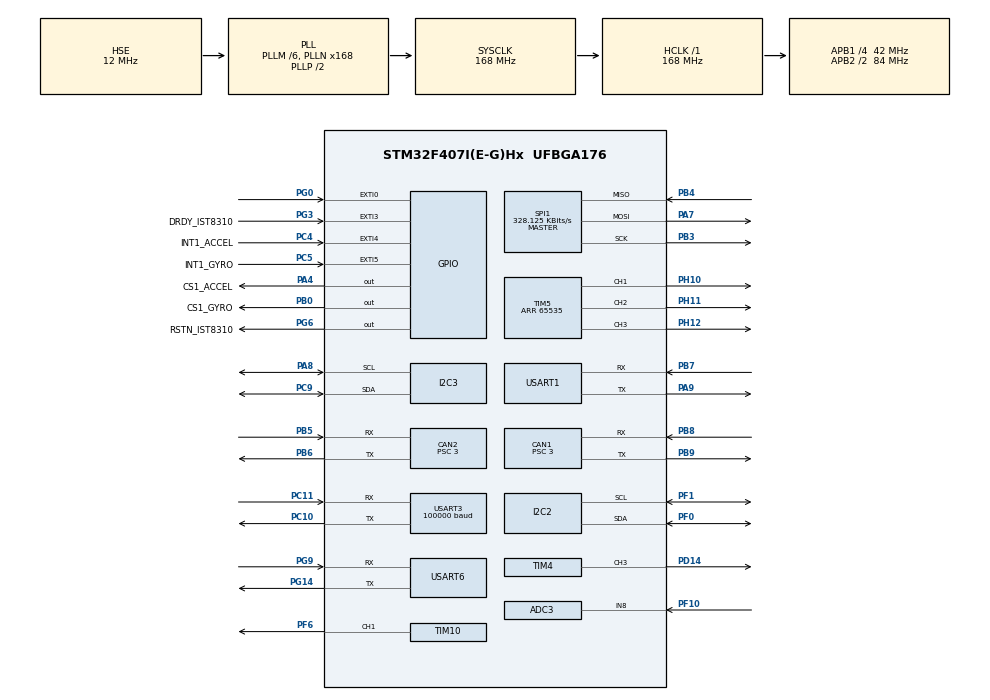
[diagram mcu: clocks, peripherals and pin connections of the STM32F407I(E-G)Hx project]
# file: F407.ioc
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ADC1.Channel-0\#ChannelRegularConversion=ADC_CHANNEL_TEMPSENSOR
ADC1.NbrOfConversionFlag=1
ADC1.Rank-0\#ChannelRegularConversion=1
ADC1.SamplingTime-0\#ChannelRegularConversion=ADC_SAMPLETIME_3CYCLES
ADC1.master=1
ADC3.Channel-0\#ChannelRegularConversion=ADC_CHANNEL_8
ADC3.NbrOfConversionFlag=1
ADC3.Rank-0\#ChannelRegularConversion=1
ADC3.SamplingTime-0\#ChannelRegularConversion=ADC_SAMPLETIME_3CYCLES
CAN1.BS1=CAN_BS1_12TQ
CAN1.CalculateBaudRate=1000000
CAN1.CalculateTimeBit=999.99
CAN1.CalculateTimeQuantum=71.42857142857143
CAN1.Prescaler=3
CAN2.BS1=CAN_BS1_12TQ
CAN2.CalculateBaudRate=1000000
CAN2.CalculateTimeBit=999.99
CAN2.CalculateTimeQuantum=71.42857142857143
CAN2.Prescaler=3
Dma.I2C2_RX.0.Direction=DMA_PERIPH_TO_MEMORY
Dma.I2C2_RX.0.FIFOMode=DMA_FIFOMODE_DISABLE
Dma.I2C2_RX.0.Instance=DMA1_Stream2
Dma.I2C2_RX.0.MemDataAlignment=DMA_MDATAALIGN_BYTE
Dma.I2C2_RX.0.MemInc=DMA_MINC_ENABLE
Dma.I2C2_RX.0.Mode=DMA_NORMAL
Dma.I2C2_RX.0.PeriphDataAlignment=DMA_PDATAALIGN_BYTE
Dma.I2C2_RX.0.PeriphInc=DMA_PINC_DISABLE
Dma.I2C2_RX.0.Priority=DMA_PRIORITY_VERY_HIGH
Dma.I2C2_TX.1.Direction=DMA_MEMORY_TO_PERIPH
Dma.I2C2_TX.1.FIFOMode=DMA_FIFOMODE_DISABLE
Dma.I2C2_TX.1.Instance=DMA1_Stream7
Dma.I2C2_TX.1.MemDataAlignment=DMA_MDATAALIGN_BYTE
Dma.I2C2_TX.1.MemInc=DMA_MINC_ENABLE
Dma.I2C2_TX.1.Mode=DMA_NORMAL
Dma.I2C2_TX.1.PeriphDataAlignment=DMA_PDATAALIGN_BYTE
Dma.I2C2_TX.1.PeriphInc=DMA_PINC_DISABLE
Dma.I2C2_TX.1.Priority=DMA_PRIORITY_VERY_HIGH
Dma.Request0=I2C2_RX
Dma.Request1=I2C2_TX
Dma.Request2=SPI1_RX
Dma.Request3=SPI1_TX
Dma.Request4=USART1_RX
Dma.Request5=USART1_TX
Dma.Request6=USART3_RX
Dma.Request7=USART6_RX
Dma.Request8=USART6_TX
Dma.SPI1_RX.2.Direction=DMA_PERIPH_TO_MEMORY
Dma.SPI1_RX.2.FIFOMode=DMA_FIFOMODE_DISABLE
Dma.SPI1_RX.2.Instance=DMA2_Stream0
Dma.SPI1_RX.2.MemDataAlignment=DMA_MDATAALIGN_BYTE
Dma.SPI1_RX.2.MemInc=DMA_MINC_ENABLE
Dma.SPI1_RX.2.Mode=DMA_NORMAL
Dma.SPI1_RX.2.PeriphDataAlignment=DMA_PDATAALIGN_BYTE
Dma.SPI1_RX.2.PeriphInc=DMA_PINC_DISABLE
Dma.SPI1_RX.2.Priority=DMA_PRIORITY_VERY_HIGH
Dma.SPI1_TX.3.Direction=DMA_MEMORY_TO_PERIPH
Dma.SPI1_TX.3.FIFOMode=DMA_FIFOMODE_DISABLE
Dma.SPI1_TX.3.Instance=DMA2_Stream3
Dma.SPI1_TX.3.MemDataAlignment=DMA_MDATAALIGN_BYTE
Dma.SPI1_TX.3.MemInc=DMA_MINC_ENABLE
Dma.SPI1_TX.3.Mode=DMA_NORMAL
Dma.SPI1_TX.3.PeriphDataAlignment=DMA_PDATAALIGN_BYTE
Dma.SPI1_TX.3.PeriphInc=DMA_PINC_DISABLE
Dma.SPI1_TX.3.Priority=DMA_PRIORITY_VERY_HIGH
Dma.USART1_RX.4.Direction=DMA_PERIPH_TO_MEMORY
Dma.USART1_RX.4.FIFOMode=DMA_FIFOMODE_DISABLE
Dma.USART1_RX.4.Instance=DMA2_Stream2
Dma.USART1_RX.4.MemDataAlignment=DMA_MDATAALIGN_BYTE
Dma.USART1_RX.4.MemInc=DMA_MINC_ENABLE
Dma.USART1_RX.4.Mode=DMA_NORMAL
Dma.USART1_RX.4.PeriphDataAlignment=DMA_PDATAALIGN_BYTE
Dma.USART1_RX.4.PeriphInc=DMA_PINC_DISABLE
Dma.USART1_RX.4.Priority=DMA_PRIORITY_LOW
Dma.USART1_TX.5.Direction=DMA_MEMORY_TO_PERIPH
Dma.USART1_TX.5.FIFOMode=DMA_FIFOMODE_DISABLE
Dma.USART1_TX.5.Instance=DMA2_Stream7
Dma.USART1_TX.5.MemDataAlignment=DMA_MDATAALIGN_BYTE
Dma.USART1_TX.5.MemInc=DMA_MINC_ENABLE
Dma.USART1_TX.5.Mode=DMA_NORMAL
Dma.USART1_TX.5.PeriphDataAlignment=DMA_PDATAALIGN_BYTE
Dma.USART1_TX.5.PeriphInc=DMA_PINC_DISABLE
Dma.USART1_TX.5.Priority=DMA_PRIORITY_LOW
Dma.USART3_RX.6.Direction=DMA_PERIPH_TO_MEMORY
Dma.USART3_RX.6.FIFOMode=DMA_FIFOMODE_DISABLE
Dma.USART3_RX.6.Instance=DMA1_Stream1
Dma.USART3_RX.6.MemDataAlignment=DMA_MDATAALIGN_BYTE
Dma.USART3_RX.6.MemInc=DMA_MINC_ENABLE
Dma.USART3_RX.6.Mode=DMA_NORMAL
Dma.USART3_RX.6.PeriphDataAlignment=DMA_PDATAALIGN_BYTE
Dma.USART3_RX.6.PeriphInc=DMA_PINC_DISABLE
Dma.USART3_RX.6.Priority=DMA_PRIORITY_HIGH
Dma.USART6_RX.7.Direction=DMA_PERIPH_TO_MEMORY
Dma.USART6_RX.7.FIFOMode=DMA_FIFOMODE_DISABLE
Dma.USART6_RX.7.Instance=DMA2_Stream1
Dma.USART6_RX.7.MemDataAlignment=DMA_MDATAALIGN_BYTE
Dma.USART6_RX.7.MemInc=DMA_MINC_ENABLE
Dma.USART6_RX.7.Mode=DMA_NORMAL
Dma.USART6_RX.7.PeriphDataAlignment=DMA_PDATAALIGN_BYTE
Dma.USART6_RX.7.PeriphInc=DMA_PINC_DISABLE
Dma.USART6_RX.7.Priority=DMA_PRIORITY_LOW
Dma.USART6_TX.8.Direction=DMA_MEMORY_TO_PERIPH
Dma.USART6_TX.8.FIFOMode=DMA_FIFOMODE_DISABLE
Dma.USART6_TX.8.Instance=DMA2_Stream6
Dma.USART6_TX.8.MemDataAlignment=DMA_MDATAALIGN_BYTE
Dma.USART6_TX.8.MemInc=DMA_MINC_ENABLE
Dma.USART6_TX.8.Mode=DMA_NORMAL
Dma.USART6_TX.8.PeriphDataAlignment=DMA_PDATAALIGN_BYTE
Dma.USART6_TX.8.PeriphInc=DMA_PINC_DISABLE
Dma.USART6_TX.8.Priority=DMA_PRIORITY_LOW
FREERTOS.INCLUDE_eTaskGetState=1
FREERTOS.INCLUDE_pcTaskGetTaskName=1
FREERTOS.INCLUDE_uxTaskGetStackHighWaterMark=1
FREERTOS.INCLUDE_uxTaskGetStackHighWaterMark2=0
FREERTOS.INCLUDE_vTaskCleanUpResources=1
FREERTOS.INCLUDE_vTaskDelayUntil=1
FREERTOS.INCLUDE_xEventGroupSetBitFromISR=1
FREERTOS.INCLUDE_xQueueGetMutexHolder=1
FREERTOS.INCLUDE_xSemaphoreGetMutexHolder=1
FREERTOS.INCLUDE_xTaskAbortDelay=1
FREERTOS.INCLUDE_xTaskGetCurrentTaskHandle=1
FREERTOS.INCLUDE_xTaskGetHandle=1
FREERTOS.INCLUDE_xTimerPendFunctionCall=1
FREERTOS.Tasks01=defaultTask,0,128,StartDefaultTask,Default,NULL,Dynamic,NULL,NULL
FREERTOS.configENABLE_FPU=1
FREERTOS.configTOTAL_HEAP_SIZE=24576
FREERTOS.configUSE_TIMERS=1
I2C2.I2C_Mode=I2C_Standard
I2C2.NoStretchMode=I2C_NOSTRETCH_ENABLE
I2C2.OwnAddress=0x30
Mcu.Family=STM32F4
Mcu.Name=STM32F407I(E-G)Hx
Mcu.Package=UFBGA176
NVIC.CAN1_RX0_IRQn=true\:8\:0\:true\:false\:true\:true\:true\:true
NVIC.CAN2_RX0_IRQn=true\:8\:0\:true\:false\:true\:true\:true\:true
NVIC.DMA1_Stream1_IRQn=true\:5\:0\:true\:false\:true\:true\:false\:true
NVIC.DMA1_Stream2_IRQn=true\:4\:0\:true\:false\:true\:false\:false\:true
NVIC.DMA1_Stream7_IRQn=true\:4\:0\:true\:false\:true\:false\:false\:true
NVIC.DMA2_Stream0_IRQn=true\:6\:0\:true\:false\:true\:true\:false\:true
NVIC.DMA2_Stream1_IRQn=true\:9\:0\:true\:false\:true\:true\:false\:true
NVIC.DMA2_Stream2_IRQn=true\:9\:0\:true\:false\:true\:true\:false\:true
NVIC.DMA2_Stream3_IRQn=true\:6\:0\:true\:false\:true\:true\:false\:true
NVIC.DMA2_Stream6_IRQn=true\:9\:0\:true\:false\:true\:true\:false\:true
NVIC.DMA2_Stream7_IRQn=true\:9\:0\:true\:false\:true\:true\:false\:true
NVIC.EXTI0_IRQn=true\:6\:0\:true\:false\:true\:true\:true\:true
NVIC.EXTI3_IRQn=true\:6\:0\:true\:false\:true\:true\:true\:true
NVIC.EXTI4_IRQn=true\:6\:0\:true\:false\:true\:true\:true\:true
NVIC.EXTI9_5_IRQn=true\:5\:0\:false\:false\:true\:true\:true\:true
NVIC.I2C2_ER_IRQn=true\:5\:0\:false\:false\:true\:true\:true\:true
NVIC.I2C2_EV_IRQn=true\:4\:0\:true\:false\:true\:false\:true\:true
NVIC.PriorityGroup=NVIC_PRIORITYGROUP_4
NVIC.TIM1_UP_TIM10_IRQn=true\:15\:0\:true\:false\:true\:false\:false\:true
NVIC.TimeBase=TIM1_UP_TIM10_IRQn
NVIC.TimeBaseIP=TIM1
NVIC.USART1_IRQn=true\:9\:0\:true\:false\:true\:true\:true\:true
NVIC.USART3_IRQn=true\:5\:0\:true\:false\:true\:true\:true\:true
NVIC.USART6_IRQn=true\:9\:0\:true\:false\:true\:true\:true\:true
PA13.Mode=Serial_Wire
PA13.Signal=SYS_JTMS-SWDIO
PA14.Mode=Serial_Wire
PA14.Signal=SYS_JTCK-SWCLK
PA4.GPIO_Label=CS1_ACCEL
PA4.GPIO_PuPd=GPIO_PULLUP
PA4.GPIO_Speed=GPIO_SPEED_FREQ_HIGH
PA4.PinState=GPIO_PIN_SET
PA4.Signal=GPIO_Output
PA7.GPIO_PuPd=GPIO_PULLUP
PA7.Mode=Full_Duplex_Master
PA7.Signal=SPI1_MOSI
PA8.GPIO_Pu=GPIO_PULLUP
PA8.Mode=I2C
PA8.Signal=I2C3_SCL
PA9.Mode=Asynchronous
PA9.Signal=USART1_TX
PB0.GPIO_Label=CS1_GYRO
PB0.GPIO_PuPd=GPIO_PULLUP
PB0.GPIO_Speed=GPIO_SPEED_FREQ_HIGH
PB0.PinState=GPIO_PIN_SET
PB0.Signal=GPIO_Output
PB3.GPIO_PuPd=GPIO_PULLUP
PB3.Mode=Full_Duplex_Master
PB3.Signal=SPI1_SCK
PB4.GPIO_PuPd=GPIO_PULLUP
PB4.Mode=Full_Duplex_Master
PB4.Signal=SPI1_MISO
PB5.Mode=CAN_Activate
PB5.Signal=CAN2_RX
PB6.Mode=CAN_Activate
PB6.Signal=CAN2_TX
PB7.Mode=Asynchronous
PB7.Signal=USART1_RX
PB8.Mode=CAN_Activate
PB8.Signal=CAN1_RX
PB9.Mode=CAN_Activate
PB9.Signal=CAN1_TX
PC10.Mode=Asynchronous
PC10.Signal=USART3_TX
PC11.Mode=Asynchronous
PC11.Signal=USART3_RX
PC4.GPIO_Label=INT1_ACCEL
PC4.GPIO_ModeDefaultEXTI=GPIO_MODE_IT_FALLING
PC4.GPIO_PuPd=GPIO_PULLUP
PC4.Signal=GPXTI4
PC5.GPIO_Label=INT1_GYRO
PC5.GPIO_ModeDefaultEXTI=GPIO_MODE_IT_FALLING
PC5.GPIO_PuPd=GPIO_PULLUP
PC5.Signal=GPXTI5
PC9.GPIO_Pu=GPIO_PULLUP
PC9.Mode=I2C
PC9.Signal=I2C3_SDA
PD14.GPIO_PuPd=GPIO_PULLUP
PD14.GPIO_Speed=GPIO_SPEED_FREQ_HIGH
PD14.Signal=S_TIM4_CH3
PF0.GPIO_Pu=GPIO_PULLUP
PF0.Mode=I2C
PF0.Signal=I2C2_SDA
PF1.GPIO_Pu=GPIO_PULLUP
PF1.Mode=I2C
PF1.Signal=I2C2_SCL
PF10.Mode=IN8
PF10.Signal=ADC3_IN8
PF6.GPIO_PuPd=GPIO_PULLUP
PF6.GPIO_Speed=GPIO_SPEED_FREQ_HIGH
PF6.Signal=S_TIM10_CH1
PG0.GPIO_ModeDefaultEXTI=GPIO_MODE_IT_FALLING
PG0.GPIO_PuPd=GPIO_PULLUP
PG0.Signal=GPXTI0
PG14.Mode=Asynchronous
PG14.Signal=USART6_TX
PG3.GPIO_Label=DRDY_IST8310
PG3.GPIO_ModeDefaultEXTI=GPIO_MODE_IT_FALLING
PG3.GPIO_PuPd=GPIO_PULLUP
PG3.Signal=GPXTI3
PG6.GPIO_Label=RSTN_IST8310
PG6.GPIO_PuPd=GPIO_PULLUP
PG6.GPIO_Speed=GPIO_SPEED_FREQ_MEDIUM
PG6.PinState=GPIO_PIN_SET
PG6.Signal=GPIO_Output
PG9.Mode=Asynchronous
PG9.Signal=USART6_RX
PH0-OSC_IN.Mode=HSE-External-Oscillator
PH0-OSC_IN.Signal=RCC_OSC_IN
PH1-OSC_OUT.Mode=HSE-External-Oscillator
PH1-OSC_OUT.Signal=RCC_OSC_OUT
PH10.GPIO_PuPd=GPIO_PULLUP
PH10.GPIO_Speed=GPIO_SPEED_FREQ_HIGH
PH10.Signal=S_TIM5_CH1
PH11.GPIO_PuPd=GPIO_PULLUP
PH11.GPIO_Speed=GPIO_SPEED_FREQ_HIGH
PH11.Signal=S_TIM5_CH2
PH12.GPIO_PuPd=GPIO_PULLUP
PH12.GPIO_Speed=GPIO_SPEED_FREQ_HIGH
PH12.Signal=S_TIM5_CH3
ProjectManager.HeapSize=0x200
ProjectManager.StackSize=0x400
ProjectManager.TargetToolchain=MDK-ARM V5.32
RCC.48MHZClocksFreq_Value=84000000
RCC.AHBFreq_Value=168000000
RCC.APB1CLKDivider=RCC_HCLK_DIV4
RCC.APB1Freq_Value=42000000
RCC.APB1TimFreq_Value=84000000
RCC.APB2CLKDivider=RCC_HCLK_DIV2
RCC.APB2Freq_Value=84000000
RCC.APB2TimFreq_Value=168000000
RCC.CortexFreq_Value=168000000
RCC.HCLKFreq_Value=168000000
RCC.HSE_VALUE=12000000
RCC.HSI_VALUE=16000000
RCC.LSE_VALUE=32768
RCC.PLLM=6
RCC.PLLN=168
RCC.PLLSourceVirtual=RCC_PLLSOURCE_HSE
RCC.SYSCLKFreq_VALUE=168000000
RCC.SYSCLKSource=RCC_SYSCLKSOURCE_PLLCLK
RCC.VCOOutputFreq_Value=336000000
SH.S_TIM10_CH1.0=TIM10_CH1,PWM Generation1 CH1
SH.S_TIM4_CH3.0=TIM4_CH3,PWM Generation3 CH3
SH.S_TIM5_CH1.0=TIM5_CH1,PWM Generation1 CH1
SH.S_TIM5_CH2.0=TIM5_CH2,PWM Generation2 CH2
SH.S_TIM5_CH3.0=TIM5_CH3,PWM Generation3 CH3
SPI1.BaudRatePrescaler=SPI_BAUDRATEPRESCALER_256
SPI1.CLKPhase=SPI_PHASE_2EDGE
SPI1.CLKPolarity=SPI_POLARITY_HIGH
SPI1.CalculateBaudRate=328.125 KBits/s
SPI1.Direction=SPI_DIRECTION_2LINES
SPI1.Mode=SPI_MODE_MASTER
SPI1.VirtualType=VM_MASTER
TIM10.Channel=TIM_CHANNEL_1
TIM10.Period=4999
TIM4.Channel-PWM\ Generation3\ CH3=TIM_CHANNEL_3
TIM4.Period=20999
TIM5.Channel-PWM\ Generation1\ CH1=TIM_CHANNEL_1
TIM5.Channel-PWM\ Generation2\ CH2=TIM_CHANNEL_2
TIM5.Channel-PWM\ Generation3\ CH3=TIM_CHANNEL_3
TIM5.Period=65535
TIM5.Pulse-PWM\ Generation1\ CH1=10000
TIM5.Pulse-PWM\ Generation2\ CH2=10000
TIM5.Pulse-PWM\ Generation3\ CH3=10000
USART1.VirtualMode=VM_ASYNC
USART3.BaudRate=100000
USART3.Parity=PARITY_EVEN
USART3.VirtualMode=VM_ASYNC
USART6.VirtualMode=VM_ASYNC
VP_ADC1_TempSens_Input.Mode=IN-TempSens
VP_FREERTOS_VS_CMSIS_V1.Mode=CMSIS_V1
VP_SYS_VS_tim1.Mode=TIM1
VP_TIM10_VS_ClockSourceINT.Mode=Enable_Timer
board=custom

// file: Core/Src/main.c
/* USER CODE BEGIN Header */
/**
  ******************************************************************************
  * @file           : main.c
  * @brief          : Main program body
  ******************************************************************************
  * @attention
  *
  * <h2><center>&copy; Copyright (c) 2022 STMicroelectronics.
  * All rights reserved.</center></h2>
  *
  * This software component is licensed by ST under Ultimate Liberty license
  * SLA0044, the "License"; You may not use this file except in compliance with
  * the License. You may obtain a copy of the License at:
  *                             www.st.com/SLA0044
  *
  ******************************************************************************
  */
/* USER CODE END Header */
#include "main.h"
#include "cmsis_os.h"
#include "adc.h"
#include "can.h"
#include "dma.h"
#include "i2c.h"
#include "spi.h"
#include "tim.h"
#include "usart.h"
#include "gpio.h"

/* USER CODE BEGIN Includes */
#include "bsp_can.h"
#include "bsp_delay.h"
#include "bsp_imu_pwm.h"
#include "remote_control.h"

#include "INS_task.h"
#include "servo_task.h"
#include "Motor_M2006_Task.h"
#include "calibrate_task.h"
#include "bsp_adc.h"
/* USER CODE END Includes */

void SystemClock_Config(void);
void MX_FREERTOS_Init(void);

int main(void)
{

  /* MCU Configuration--------------------------------------------------------*/

  /* Reset of all peripherals, Initializes the Flash interface and the Systick. */
  HAL_Init();

  /* Configure the system clock */
  SystemClock_Config();

  /* Initialize all configured peripherals */
  MX_GPIO_Init();
  MX_DMA_Init();
  MX_ADC3_Init();
  MX_CAN1_Init();
  MX_CAN2_Init();
  MX_I2C2_Init();
  MX_I2C3_Init();
  MX_SPI1_Init();
  MX_USART1_UART_Init();
  MX_USART3_UART_Init();
  MX_USART6_UART_Init();
  MX_ADC1_Init();
  MX_TIM4_Init();
  MX_TIM5_Init();
  MX_TIM10_Init();
  /* USER CODE BEGIN 2 */
  can_filter_init();
  delay_init();
  remote_control_init();
	Servos_init();
	M2006_Control_init();
	cali_param_init();
	imu_pwm_init();
	init_vrefint_reciprocal();
  /* USER CODE END 2 */

  /* Call init function for freertos objects (in freertos.c) */
  MX_FREERTOS_Init();
  /* Start scheduler */
  osKernelStart();

  /* We should never get here as control is now taken by the scheduler */
  /* Infinite loop */
  while (1)
  {

  }
}

void SystemClock_Config(void)
{
  RCC_OscInitTypeDef RCC_OscInitStruct = {0};
  RCC_ClkInitTypeDef RCC_ClkInitStruct = {0};

  /** Configure the main internal regulator output voltage
  */
  __HAL_RCC_PWR_CLK_ENABLE();
  __HAL_PWR_VOLTAGESCALING_CONFIG(PWR_REGULATOR_VOLTAGE_SCALE1);
  /** Initializes the RCC Oscillators according to the specified parameters
  * in the RCC_OscInitTypeDef structure.
  */
  RCC_OscInitStruct.OscillatorType = RCC_OSCILLATORTYPE_HSE;
  RCC_OscInitStruct.HSEState = RCC_HSE_ON;
  RCC_OscInitStruct.PLL.PLLState = RCC_PLL_ON;
  RCC_OscInitStruct.PLL.PLLSource = RCC_PLLSOURCE_HSE;
  RCC_OscInitStruct.PLL.PLLM = 6;
  RCC_OscInitStruct.PLL.PLLN = 168;
  RCC_OscInitStruct.PLL.PLLP = RCC_PLLP_DIV2;
  RCC_OscInitStruct.PLL.PLLQ = 4;
  if (HAL_RCC_OscConfig(&RCC_OscInitStruct) != HAL_OK)
  {
    Error_Handler();
  }
  /** Initializes the CPU, AHB and APB buses clocks
  */
  RCC_ClkInitStruct.ClockType = RCC_CLOCKTYPE_HCLK|RCC_CLOCKTYPE_SYSCLK
                              |RCC_CLOCKTYPE_PCLK1|RCC_CLOCKTYPE_PCLK2;
  RCC_ClkInitStruct.SYSCLKSource = RCC_SYSCLKSOURCE_PLLCLK;
  RCC_ClkInitStruct.AHBCLKDivider = RCC_SYSCLK_DIV1;
  RCC_ClkInitStruct.APB1CLKDivider = RCC_HCLK_DIV4;
  RCC_ClkInitStruct.APB2CLKDivider = RCC_HCLK_DIV2;

  if (HAL_RCC_ClockConfig(&RCC_ClkInitStruct, FLASH_LATENCY_5) != HAL_OK)
  {
    Error_Handler();
  }
}

void HAL_TIM_PeriodElapsedCallback(TIM_HandleTypeDef *htim)
{
  if (htim->Instance == TIM1) {
    HAL_IncTick();
  }
}

void Error_Handler(void)
{
  __disable_irq();
  while (1)
  {
  }
}

/************************ (C) COPYRIGHT STMicroelectronics *****END OF FILE****/

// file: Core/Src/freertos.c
/* USER CODE BEGIN Header */
/**
  ******************************************************************************
  * File Name          : freertos.c
  * Description        : Code for freertos applications
  ******************************************************************************
  * @attention
  *
  * <h2><center>&copy; Copyright (c) 2022 STMicroelectronics.
  * All rights reserved.</center></h2>
  *
  * This software component is licensed by ST under Ultimate Liberty license
  * SLA0044, the "License"; You may not use this file except in compliance with
  * the License. You may obtain a copy of the License at:
  *                             www.st.com/SLA0044
  *
  ******************************************************************************
  */
/* USER CODE END Header */

#include "FreeRTOS.h"
#include "task.h"
#include "main.h"
#include "cmsis_os.h"

/* USER CODE BEGIN Includes */
#include "INS_task.h"
#include "servo_task.h"
#include "Motor_M2006_Task.h"
#include "I2C_TASK.h"
#include "calibrate_task.h"
/* USER CODE END Includes */

osThreadId defaultTaskHandle;

/* USER CODE BEGIN FunctionPrototypes */
osThreadId testHandle;
osThreadId ServoTaskHandle;
osThreadId IMUTaskHandle;
osThreadId ModuleMotorHandle;
osThreadId calibrate_task_handle;
/* USER CODE END FunctionPrototypes */

void StartDefaultTask(void const * argument);

void MX_FREERTOS_Init(void); /* (MISRA C 2004 rule 8.1) */

/* GetIdleTaskMemory prototype (linked to static allocation support) */
void vApplicationGetIdleTaskMemory( StaticTask_t **ppxIdleTaskTCBBuffer, StackType_t **ppxIdleTaskStackBuffer, uint32_t *pulIdleTaskStackSize );

/* GetTimerTaskMemory prototype (linked to static allocation support) */
void vApplicationGetTimerTaskMemory( StaticTask_t **ppxTimerTaskTCBBuffer, StackType_t **ppxTimerTaskStackBuffer, uint32_t *pulTimerTaskStackSize );

/* USER CODE BEGIN GET_IDLE_TASK_MEMORY */
static StaticTask_t xIdleTaskTCBBuffer;
static StackType_t xIdleStack[configMINIMAL_STACK_SIZE];

void vApplicationGetIdleTaskMemory( StaticTask_t **ppxIdleTaskTCBBuffer, StackType_t **ppxIdleTaskStackBuffer, uint32_t *pulIdleTaskStackSize )
{
  *ppxIdleTaskTCBBuffer = &xIdleTaskTCBBuffer;
  *ppxIdleTaskStackBuffer = &xIdleStack[0];
  *pulIdleTaskStackSize = configMINIMAL_STACK_SIZE;
  /* place for user code */
}
/* USER CODE END GET_IDLE_TASK_MEMORY */

/* USER CODE BEGIN GET_TIMER_TASK_MEMORY */
static StaticTask_t xTimerTaskTCBBuffer;
static StackType_t xTimerStack[configTIMER_TASK_STACK_DEPTH];

void vApplicationGetTimerTaskMemory( StaticTask_t **ppxTimerTaskTCBBuffer, StackType_t **ppxTimerTaskStackBuffer, uint32_t *pulTimerTaskStackSize )
{
  *ppxTimerTaskTCBBuffer = &xTimerTaskTCBBuffer;
  *ppxTimerTaskStackBuffer = &xTimerStack[0];
  *pulTimerTaskStackSize = configTIMER_TASK_STACK_DEPTH;
  /* place for user code */
}
/* USER CODE END GET_TIMER_TASK_MEMORY */

void MX_FREERTOS_Init(void) {

  /* Create the thread(s) */
  /* definition and creation of defaultTask */
  osThreadDef(defaultTask, StartDefaultTask, osPriorityNormal, 0, 128);
  defaultTaskHandle = osThreadCreate(osThread(defaultTask), NULL);

  /* USER CODE BEGIN RTOS_THREADS */
  /* add threads, ... */

	osThreadDef(imuTask, INS_task, osPriorityRealtime, 0, 1024);
  IMUTaskHandle = osThreadCreate(osThread(imuTask), NULL);

	osThreadDef(SERVO, servo_task, osPriorityAboveNormal, 0, 256);
  ServoTaskHandle = osThreadCreate(osThread(SERVO), NULL);

	osThreadDef(ModuleMotor, motor_m2006_task, osPriorityAboveNormal, 0, 512);
  ModuleMotorHandle = osThreadCreate(osThread(ModuleMotor), NULL);

	osThreadDef(cali, calibrate_task, osPriorityNormal, 0, 128);
  calibrate_task_handle = osThreadCreate(osThread(cali), NULL);

  /* USER CODE END RTOS_THREADS */

}

void StartDefaultTask(void const * argument)
{
  for(;;)
  {
    osDelay(1);
  }
}

/************************ (C) COPYRIGHT STMicroelectronics *****END OF FILE****/
